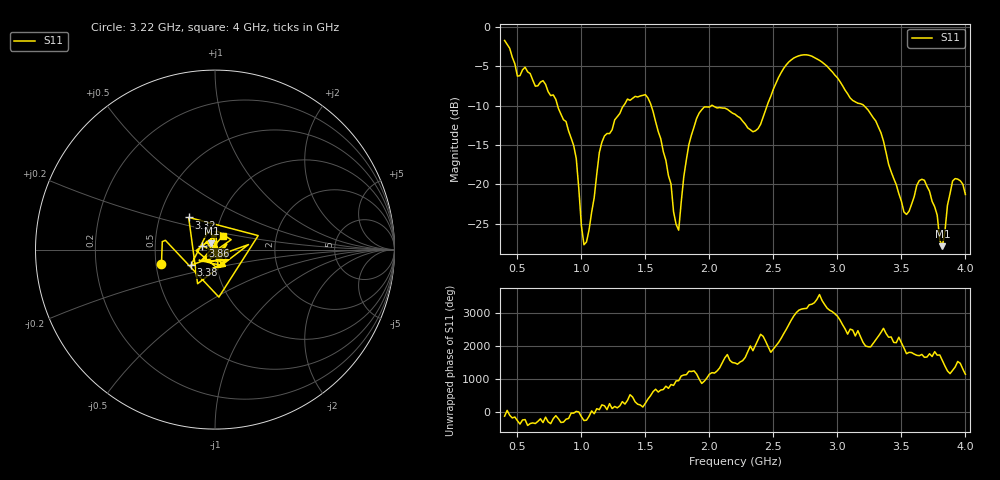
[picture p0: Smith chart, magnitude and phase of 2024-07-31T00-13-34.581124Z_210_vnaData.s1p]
!Created with skrf (http://scikit-rf.org).
# Hz S RI R 50.0
!freq ReS11 ImS11
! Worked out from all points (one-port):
!   181 points, 400 MHz to 4 GHz, reference 50 ohm
!   lowest |S11| = -27.8 dB at 3.82 GHz (marker M1), VSWR 1.08, Z = 47.9 + j3.41 ohm
!   |S11| at or under -10 dB: 814.1 MHz to 1.329 GHz (515.2 MHz wide, 48.1 % of centre); 1.545 GHz to 2.015 GHz (469.3 MHz wide, 26.4 % of centre); 3.208 GHz to end of sweep (the widest 3 of 4)
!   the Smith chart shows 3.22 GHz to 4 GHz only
!   S11 on the Smith chart (normalised r, x): 3.22 GHz: 0.53, -0.10; 3.32 GHz: 0.70, +0.27; 3.38 GHz: 0.75, -0.13; 3.86 GHz: 0.87, +0.04; 4 GHz: 1.08, +0.16
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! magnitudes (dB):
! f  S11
! 400 MHz  -1.7
! 500 MHz  -6.2
! 700 MHz  -6.8
! 860 MHz  -11.8
! 960 MHz  -16.7
! 1.02 GHz  -27.7
! 1.06 GHz  -25.7
! 1.16 GHz  -14.6
! 1.3 GHz  -11.0
! 1.52 GHz  -9.0
! 1.66 GHz  -16.9
! 1.76 GHz  -25.8
! 1.84 GHz  -14.9
! 1.92 GHz  -10.9
! 2.2 GHz  -11.1
! 2.38 GHz  -12.9
! 2.66 GHz  -3.9
! 2.88 GHz  -4.5
! 3.1 GHz  -9.0
! 3.22 GHz  -10.2
! 3.32 GHz  -12.7
! 3.38 GHz  -15.9
! 3.56 GHz  -23.4
! 3.68 GHz  -19.5
! 3.82 GHz  -27.8
! 3.86 GHz  -22.6
! 3.92 GHz  -19.3
! 4 GHz  -21.3
